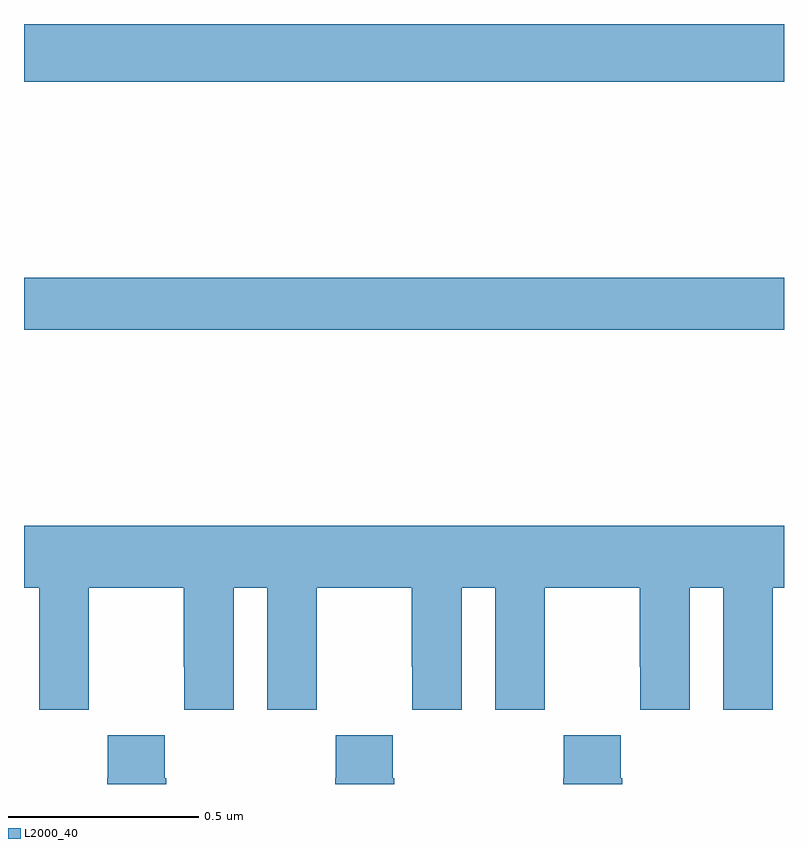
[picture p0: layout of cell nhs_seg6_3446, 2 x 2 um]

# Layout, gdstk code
import gdstk
lib = gdstk.Library(unit=1e-6, precision=1e-09)
def R(c, l, rs):  # rectangles x0, y0, x1, y1
    for r in rs: c.add(gdstk.rectangle(r[:2], r[2:], *l))
def P(c, l, *ps):  # polygons
    for p in ps: c.add(gdstk.Polygon(p, *l))
L2000_40 = (2000, 40)

nhs_seg6_3446 = lib.new_cell('nhs_seg6_3446')
R(nhs_seg6_3446, L2000_40, [(157,934.696,159,934.832), (157,935.348,159,935.5)])
P(nhs_seg6_3446, L2000_40, [(157.17,933.808),(157.171,933.808),(157.171,934.016),(157.421,934.016),(157.421,933.808),(157.422,933.808),(157.422,933.696),(157.552,933.696),(157.552,934.016),(157.64,934.016),(157.64,933.696),(157.77,933.696),(157.77,933.808),(157.771,933.808),(157.771,934.016),(158.021,934.016),(158.021,933.808),(158.022,933.808),(158.022,933.696),(158.152,933.696),(158.152,934.016),(158.24,934.016),(158.24,933.696),(158.37,933.696),(158.37,933.808),(158.371,933.808),(158.371,934.016),(158.621,934.016),(158.621,933.808),(158.622,933.808),(158.622,933.696),(158.752,933.696),(158.752,934.016),(158.84,934.016),(158.84,933.696),(158.97,933.696),(158.97,933.808),(158.971,933.808),(158.971,934.016),(159,934.016),(159,934.18),(157,934.18),(157,934.016),(157.04,934.016),(157.04,933.696),(157.17,933.696)],
  [(158.574,933.515),(158.571,933.515),(158.571,933.628),(158.421,933.628),(158.421,933.515),(158.419,933.515),(158.419,933.5),(158.574,933.5)],
  [(157.974,933.515),(157.971,933.515),(157.971,933.628),(157.821,933.628),(157.821,933.515),(157.819,933.515),(157.819,933.5),(157.974,933.5)],
  [(157.374,933.515),(157.371,933.515),(157.371,933.628),(157.221,933.628),(157.221,933.515),(157.219,933.515),(157.219,933.5),(157.374,933.5)])

lib.write_gds('nhs_seg6_3446.gds')
